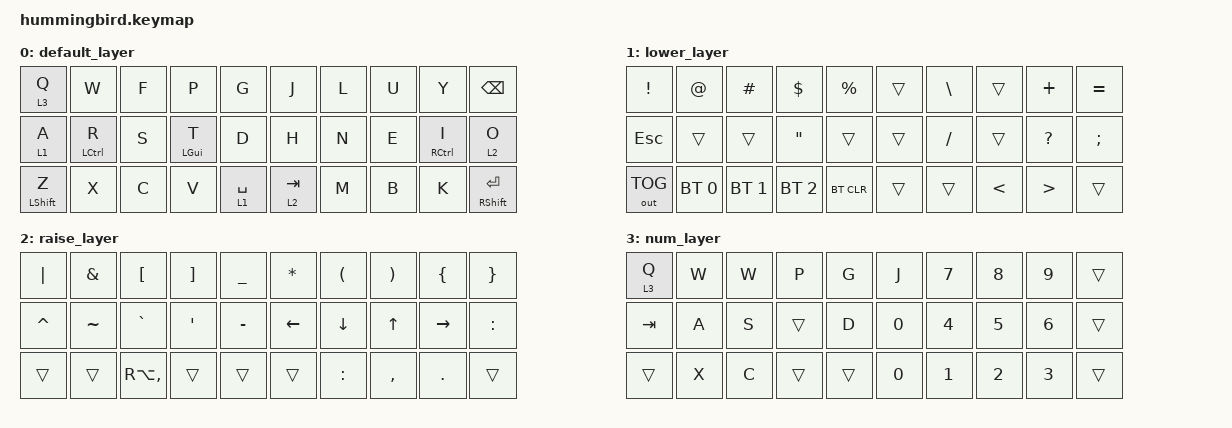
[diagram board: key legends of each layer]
/*
 * Copyright (c) 2020 The ZMK Contributors
 *
 * SPDX-License-Identifier: MIT
 */

#include <behaviors.dtsi>
#include <dt-bindings/zmk/keys.h>
#include <dt-bindings/zmk/bt.h>
#include <dt-bindings/zmk/outputs.h>

&mt {
    tapping-term-ms = <600>;
};

/ {
      combos {
          compatible = "zmk,combos";
          combo_bspc {
              timeout-ms = <50>;
              key-positions = <16 17>;
              bindings = <&kp BSPC>;
          };
          combo_esc {
              timeout-ms = <50>;
              key-positions = <1 2>;
              bindings = <&kp ESC>;
          };
          combo_spc {
              timeout-ms = <50>;
              key-positions = <12 13>;
              bindings = <&kp SPACE>;
          };
          combo_caps {
              timeout-ms = <50>;
              key-positions = <2 3>;
              bindings = <&kp CAPS>;
          };
      };	

        keymap {
                compatible = "zmk,keymap";

                default_layer {
                        bindings = <
                           &lt 3 Q  &kp W        &kp F   &kp P      &kp G   &kp J &kp L  &kp U     &kp Y         &kp BSPC   
                           &lt 1 A  &mt LCTRL R  &kp S   &mt LGUI T &kp D   &kp H &kp N  &kp E     &mt RCTRL I   &lt 2 O
                           &mt LSHFT Z  &kp X  &kp C   &kp V  &lt 1 SPACE   &lt 2 TAB  &kp M &kp B  &kp K &mt RSHFT RET
                        >;
                };
                lower_layer {
                        bindings = <
                         &kp EXCL     &kp AT &kp HASH  &kp DLLR &kp PRCNT  &trans &kp BSLH  &trans &kp PLUS     &kp EQUAL
                         &kp ESC      &trans &trans    &kp DQT  &trans     &trans &kp SLASH &trans &kp QUESTION &kp SEMI
                         &out OUT_TOG &bt BT_SEL 0 &bt BT_SEL 1 &bt BT_SEL 2 &bt BT_CLR  &trans &trans &kp LT &kp GT &trans 
                        >;
                };

                raise_layer {
                        bindings = < 
                         &kp PIPE   &kp AMPS  &kp LBKT  &kp RBKT &kp UNDER  &kp STAR &kp LPAR &kp RPAR &kp LBRC  &kp RBRC
                         &kp CARET  &kp TILDE &kp GRAVE &kp SQT  &kp MINUS  &kp LEFT &kp DOWN &kp UP &kp RIGHT  &kp COLON
                         &trans     &trans &kp RA(COMMA) &trans  &trans     &trans   &kp COLON &kp COMMA &kp DOT &trans 
                       >;
                };

                num_layer {
                        bindings = <
                          &lt 3 Q    &kp W &kp W &kp P &kp G     &kp J   &kp N7  &kp N8   &kp N9   &trans   
                          &kp TAB    &kp A &kp S &trans &kp D    &kp N0  &kp N4  &kp N5   &kp N6   &trans
                          &trans &kp X &kp C &trans  &trans      &kp N0  &kp N1  &kp N2   &kp N3 &trans
                        >;
                };
        };
};
